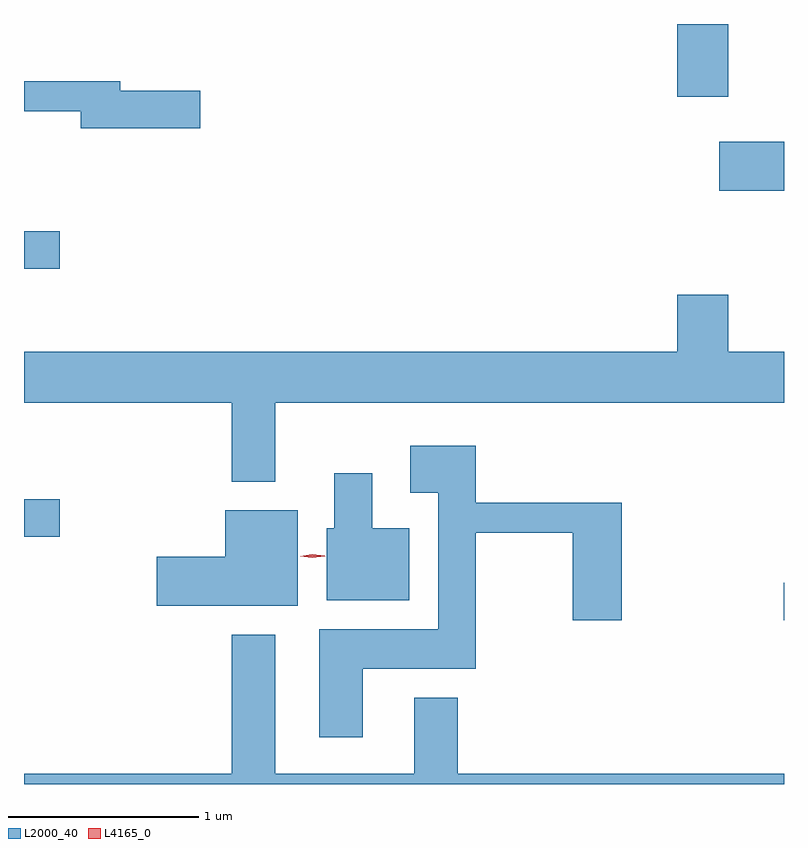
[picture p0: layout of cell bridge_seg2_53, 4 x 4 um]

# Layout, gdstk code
import gdstk
lib = gdstk.Library(unit=1e-6, precision=1e-09)
def R(c, l, rs):  # rectangles x0, y0, x1, y1
    for r in rs: c.add(gdstk.rectangle(r[:2], r[2:], *l))
def P(c, l, *ps):  # polygons
    for p in ps: c.add(gdstk.Polygon(p, *l))
L2000_40 = (2000, 40)
L4165_0 = (4165, 0)

bridge_seg2_53 = lib.new_cell('bridge_seg2_53')
R(bridge_seg2_53, L2000_40, [(1294.556,1067.151,1294.557,1067.349), (1290.557,1067.591,1290.744,1067.789), (1290.557,1069.001,1290.744,1069.199), (1294.216,1069.411,1294.557,1069.669), (1293.996,1069.906,1294.264,1070.289)])
P(bridge_seg2_53, L2000_40, [(1291.484,1069.939),(1291.064,1069.939),(1291.064,1069.989),(1290.557,1069.989),(1290.557,1069.831),(1290.856,1069.831),(1290.856,1069.741),(1291.484,1069.741)],
  [(1291.879,1068.296),(1294.557,1068.296),(1294.557,1068.564),(1294.264,1068.564),(1294.264,1068.864),(1293.996,1068.864),(1293.996,1068.564),(1290.557,1068.564),(1290.557,1068.296),(1291.651,1068.296),(1291.651,1067.881),(1291.879,1067.881)],
  [(1292.339,1066.896),(1292.934,1066.896),(1292.934,1067.611),(1293.446,1067.611),(1293.446,1067.151),(1293.704,1067.151),(1293.704,1067.769),(1292.934,1067.769),(1292.934,1068.069),(1292.591,1068.069),(1292.591,1067.821),(1292.736,1067.821),(1292.736,1067.104),(1292.111,1067.104),(1292.111,1066.536),(1292.339,1066.536)],
  [(1292.584,1067.634),(1292.389,1067.634),(1292.389,1067.924),(1292.191,1067.924),(1292.191,1067.634),(1292.151,1067.634),(1292.151,1067.256),(1292.584,1067.256)],
  [(1291.999,1067.729),(1291.616,1067.729),(1291.616,1067.484),(1291.256,1067.484),(1291.256,1067.226),(1291.999,1067.226)],
  [(1294.557,1066.344),(1292.839,1066.344),(1292.839,1066.744),(1292.611,1066.744),(1292.611,1066.344),(1291.879,1066.344),(1291.879,1067.074),(1291.651,1067.074),(1291.651,1066.344),(1290.557,1066.344),(1290.557,1066.289),(1294.557,1066.289)])
P(bridge_seg2_53, L4165_0, [(1292.075,1067.479),(1292.01,1067.488),(1292.009,1067.489),(1292.01,1067.489),(1292.075,1067.499),(1292.141,1067.49),(1292.142,1067.489),(1292.141,1067.489)])

lib.write_gds('bridge_seg2_53.gds')
